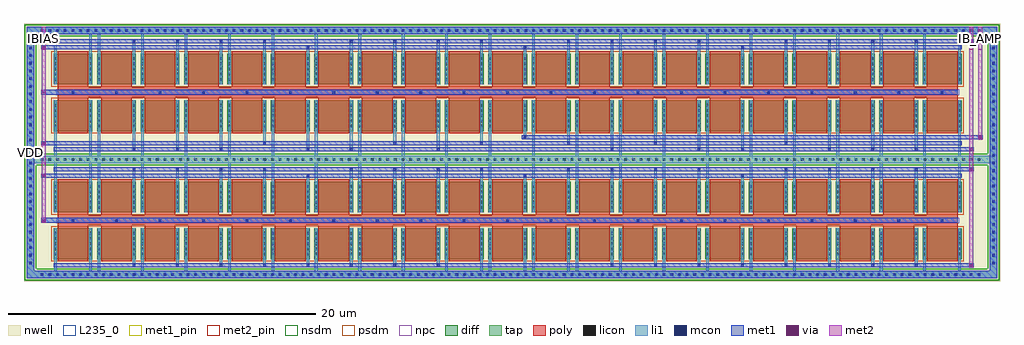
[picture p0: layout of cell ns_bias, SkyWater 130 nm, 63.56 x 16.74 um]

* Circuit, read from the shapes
.subckt ns_bias IBIAS IB_AMP IB_CMP VDD
XM1 VDD IBIAS VDD VDD sky130_fd_pr__pfet_01v8 w=2 l=2 m=11
XM2 IB_CMP IBIAS VDD VDD sky130_fd_pr__pfet_01v8 w=2 l=2 m=60
XM3 IBIAS IBIAS VDD VDD sky130_fd_pr__pfet_01v8 w=2 l=2 m=12
XM4 IB_AMP IBIAS VDD VDD sky130_fd_pr__pfet_01v8 w=2 l=2
.ends

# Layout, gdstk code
import gdstk
lib = gdstk.Library(unit=1e-6, precision=1e-09)
def R(c, l, rs):  # rectangles x0, y0, x1, y1
    for r in rs: c.add(gdstk.rectangle(r[:2], r[2:], *l))
def A(c, l, x, y, w, h, nx, ny, dx, dy):  # array of equal rectangles
    R(c, l, [(x+i*dx, y+j*dy, x+i*dx+w, y+j*dy+h) for i in range(nx) for j in range(ny)])
nwell = (64, 20)
diff = (65, 20)
tap = (65, 44)
poly = (66, 20)
licon = (66, 44)
li1 = (67, 20)
mcon = (67, 44)
met1_pin = (68, 16)
met1 = (68, 20)
via = (68, 44)
met2_pin = (69, 16)
met2 = (69, 20)
nsdm = (93, 44)
psdm = (94, 20)
npc = (95, 20)
L235_0 = (235, 0)

pfet_01v8_cdns_795853916 = lib.new_cell('pfet_01v8_CDNS_7958539161915')
R(pfet_01v8_cdns_795853916, nwell, [(-0.445,-0.18,2.445,2.18)])
R(pfet_01v8_cdns_795853916, diff, [(-0.265,0,0,2), (0,0,2,2), (2,0,2.265,2)])
R(pfet_01v8_cdns_795853916, poly, [(0,-0.15,2,-0.095), (0,-0.095,2,0), (0,0,2,2), (0,2,2,2.095), (0,2.095,2,2.15)])
A(pfet_01v8_cdns_795853916, licon, -0.225, 0.235, 0.17, 0.17, 1, 5, 0, 0.34)
A(pfet_01v8_cdns_795853916, licon, 2.055, 0.235, 0.17, 0.17, 1, 5, 0, 0.34)
R(pfet_01v8_cdns_795853916, li1, [(-0.225,0,-0.055,2), (2.055,0,2.225,2)])
R(pfet_01v8_cdns_795853916, psdm, [(-0.405,-0.13,2.405,2.13)])

ns_bias = lib.new_cell('ns_bias')
R(ns_bias, nwell, [(-0.18,-0.18,63.38,16.56)])
R(ns_bias, tap, [(0,0,63.2,0.5), (0,0,0.5,16.38), (62.7,0,63.2,16.38), (0,7.49,63.2,7.99), (0,15.88,63.2,16.38)])
A(ns_bias, poly, 2.015, 3.25, 2, 0.84, 21, 2, 2.83, 0.2)
A(ns_bias, poly, 2.015, 11.59, 2, 0.84, 21, 2, 2.83, 0.2)
R(ns_bias, poly, [(2.015,3.45,60.615,4.09), (2.015,11.79,60.615,12.43)])
A(ns_bias, licon, 0.915, 0.165, 0.17, 0.17, 123, 2, 0.5, 7.49)
A(ns_bias, licon, 0.165, 0.915, 0.17, 0.17, 1, 29, 0, 0.5)
A(ns_bias, licon, 62.865, 0.915, 0.17, 0.17, 1, 29, 0, 0.5)
A(ns_bias, licon, 2.93, 3.685, 0.17, 0.17, 21, 2, 2.83, 8.34)
A(ns_bias, licon, 0.915, 16.045, 0.17, 0.17, 123, 1, 0.5, 0)
A(ns_bias, li1, 4.62, 0.5, 0.17, 2.75, 9, 1, 2.83, 0)
A(ns_bias, li1, 35.75, 0.5, 0.17, 2.75, 9, 1, 2.83, 0)
A(ns_bias, li1, 6.9, 0.765, 0.17, 2.485, 8, 1, 2.83, 0)
A(ns_bias, li1, 38.03, 0.765, 0.17, 2.485, 8, 1, 2.83, 0)
A(ns_bias, li1, 4.62, 4.29, 0.17, 3.2, 20, 1, 2.83, 0)
A(ns_bias, li1, 6.9, 4.29, 0.17, 2.885, 4, 2, 2.83, 8.34)
A(ns_bias, li1, 18.22, 4.29, 0.17, 2.485, 3, 2, 14.15, 8.34)
A(ns_bias, li1, 21.05, 4.29, 0.17, 2.885, 4, 2, 2.83, 8.34)
A(ns_bias, li1, 35.2, 4.29, 0.17, 2.885, 4, 2, 2.83, 8.34)
A(ns_bias, li1, 49.35, 4.29, 0.17, 2.885, 4, 2, 2.83, 8.34)
A(ns_bias, li1, 4.62, 7.99, 0.17, 3.6, 20, 1, 2.83, 0)
A(ns_bias, li1, 6.9, 8.305, 0.17, 3.285, 3, 1, 2.83, 0)
A(ns_bias, li1, 52.18, 8.305, 0.17, 3.285, 3, 1, 2.83, 0)
A(ns_bias, li1, 23.88, 8.705, 0.17, 2.885, 4, 1, 5.66, 0)
A(ns_bias, li1, 4.62, 12.63, 0.17, 3.25, 20, 1, 2.83, 0)
R(ns_bias, li1, [(0,0,63.2,0.5), (0,0,0.5,16.38), (62.7,0,63.2,16.38), (1.79,0.5,1.96,3.25), (4.07,0.5,4.24,3.25), (29.54,0.5,29.71,3.25), (30.09,0.5,30.26,3.25), (32.37,0.5,32.54,3.25), (32.92,0.5,33.09,3.25), (35.2,0.5,35.37,3.25), (60.67,0.5,60.84,3.25), (0.97,3.605,60.615,3.935), (1.79,4.29,1.96,7.49), (4.07,4.29,4.24,7.49), (60.67,4.29,60.84,7.49), (0,7.49,63.2,7.99), (1.79,7.99,1.96,11.59), (4.07,7.99,4.24,11.59), (60.67,7.99,60.84,11.59), (18.22,8.305,18.39,11.59), (21.05,8.305,21.22,11.59), (26.71,8.305,26.88,11.59), (38.03,8.305,38.2,11.59), (43.69,8.305,43.86,11.59), (46.52,8.305,46.69,11.59), (15.39,8.705,15.56,11.59), (49.35,8.705,49.52,11.59), (32.37,9.105,32.54,11.59), (0.97,11.945,60.615,12.275), (1.79,12.63,1.96,15.88), (4.07,12.63,4.24,15.88), (60.67,12.63,60.84,15.88), (0,15.88,63.2,16.38)])
A(ns_bias, mcon, 0.915, 0.165, 0.17, 0.17, 123, 2, 0.5, 15.88)
A(ns_bias, mcon, 6.9, 0.765, 0.17, 0.17, 8, 1, 2.83, 0)
A(ns_bias, mcon, 38.03, 0.765, 0.17, 0.17, 8, 1, 2.83, 0)
A(ns_bias, mcon, 0.165, 0.915, 0.17, 0.17, 1, 29, 0, 0.5)
A(ns_bias, mcon, 62.865, 0.915, 0.17, 0.17, 1, 29, 0, 0.5)
A(ns_bias, mcon, 2.93, 3.685, 0.17, 0.17, 21, 2, 2.83, 8.34)
A(ns_bias, mcon, 18.22, 6.605, 0.17, 0.17, 3, 2, 14.15, 8.34)
A(ns_bias, mcon, 6.9, 7.005, 0.17, 0.17, 4, 2, 2.83, 8.34)
A(ns_bias, mcon, 21.05, 7.005, 0.17, 0.17, 4, 2, 2.83, 8.34)
A(ns_bias, mcon, 35.2, 7.005, 0.17, 0.17, 4, 2, 2.83, 8.34)
A(ns_bias, mcon, 49.35, 7.005, 0.17, 0.17, 4, 2, 2.83, 8.34)
A(ns_bias, mcon, 6.9, 8.305, 0.17, 0.17, 3, 1, 2.83, 0)
A(ns_bias, mcon, 52.18, 8.305, 0.17, 0.17, 3, 1, 2.83, 0)
A(ns_bias, mcon, 23.88, 8.705, 0.17, 0.17, 4, 1, 5.66, 0)
R(ns_bias, mcon, [(18.22,8.305,18.39,8.475), (21.05,8.305,21.22,8.475), (26.71,8.305,26.88,8.475), (38.03,8.305,38.2,8.475), (43.69,8.305,43.86,8.475), (46.52,8.305,46.69,8.475), (15.39,8.705,15.56,8.875), (49.35,8.705,49.52,8.875), (32.37,9.105,32.54,9.275)])
R(ns_bias, met1_pin, [(0,1,0.5,15.38)])
R(ns_bias, met1, [(0,0,0.5,16.38), (0,0,63.2,0.5), (62.7,0,63.2,16.38), (1.75,0.72,61.66,0.98), (61.34,0.72,61.66,0.98), (0.94,3.605,60.615,3.935), (0.94,3.64,1.26,3.9), (0.94,6.56,1.26,6.82), (0.94,6.56,60.88,6.82), (1.75,6.96,61.66,7.22), (61.34,6.96,61.66,7.22), (1.75,8.26,61.66,8.52), (61.34,8.26,61.66,8.52), (0.94,8.66,1.26,8.92), (0.94,8.66,60.88,8.92), (32.25,9.06,62.26,9.32), (61.94,9.06,62.26,9.32), (0.94,11.945,60.615,12.275), (0.94,11.98,1.26,12.24), (0.94,14.9,1.26,15.16), (0.94,14.9,60.88,15.16), (1.75,15.3,61.66,15.56), (61.34,15.3,61.66,15.56), (0,15.88,63.2,16.38)])
R(ns_bias, via, [(61.425,0.775,61.575,0.925), (1.025,3.695,1.175,3.845), (1.025,6.615,1.175,6.765), (61.425,7.015,61.575,7.165), (61.425,8.315,61.575,8.465), (1.025,8.715,1.175,8.865), (62.025,9.115,62.175,9.265), (1.025,12.035,1.175,12.185), (1.025,14.955,1.175,15.105), (61.425,15.355,61.575,15.505)])
R(ns_bias, met2_pin, [(0.97,14.88,1.23,16.38), (61.37,14.88,61.63,16.38), (61.97,14.88,62.23,16.38)])
R(ns_bias, met2, [(61.37,0.69,61.63,16.38), (61.37,0.69,61.63,1.01), (0.97,3.61,1.23,16.38), (0.97,3.61,1.23,3.93), (0.97,6.53,1.23,6.85), (61.37,6.93,61.63,7.25), (61.37,8.23,61.63,8.55), (0.97,8.63,1.23,8.95), (61.97,9.03,62.23,16.38), (61.97,9.03,62.23,9.35), (0.97,11.95,1.23,12.27), (0.97,14.87,1.23,15.19), (61.37,15.27,61.63,15.59)])
R(ns_bias, nsdm, [(-0.125,-0.125,0.625,16.505), (-0.125,-0.125,63.325,0.625), (62.575,-0.125,63.325,16.505), (0.625,7.365,62.575,8.115), (-0.125,15.755,63.325,16.505)])
R(ns_bias, psdm, [(1.6,1.1,61.03,3.4), (1.6,4.14,61.03,6.44), (1.6,9.44,61.03,11.74), (1.6,12.48,61.03,14.78)])
R(ns_bias, npc, [(1.915,3.585,60.715,3.955), (1.915,11.925,60.715,12.295)])
R(ns_bias, L235_0, [(0,0,63.2,16.38)])
ns_bias.add(gdstk.Reference(pfet_01v8_cdns_795853916, (58.615,1.25)))
ns_bias.add(gdstk.Reference(pfet_01v8_cdns_795853916, (55.785,1.25)))
ns_bias.add(gdstk.Reference(pfet_01v8_cdns_795853916, (52.955,1.25)))
ns_bias.add(gdstk.Reference(pfet_01v8_cdns_795853916, (50.125,1.25)))
ns_bias.add(gdstk.Reference(pfet_01v8_cdns_795853916, (47.295,1.25)))
ns_bias.add(gdstk.Reference(pfet_01v8_cdns_795853916, (44.465,1.25)))
ns_bias.add(gdstk.Reference(pfet_01v8_cdns_795853916, (41.635,1.25)))
ns_bias.add(gdstk.Reference(pfet_01v8_cdns_795853916, (38.805,1.25)))
ns_bias.add(gdstk.Reference(pfet_01v8_cdns_795853916, (35.975,1.25)))
ns_bias.add(gdstk.Reference(pfet_01v8_cdns_795853916, (33.145,1.25)))
ns_bias.add(gdstk.Reference(pfet_01v8_cdns_795853916, (30.315,1.25)))
ns_bias.add(gdstk.Reference(pfet_01v8_cdns_795853916, (27.485,1.25)))
ns_bias.add(gdstk.Reference(pfet_01v8_cdns_795853916, (24.655,1.25)))
ns_bias.add(gdstk.Reference(pfet_01v8_cdns_795853916, (21.825,1.25)))
ns_bias.add(gdstk.Reference(pfet_01v8_cdns_795853916, (18.995,1.25)))
ns_bias.add(gdstk.Reference(pfet_01v8_cdns_795853916, (16.165,1.25)))
ns_bias.add(gdstk.Reference(pfet_01v8_cdns_795853916, (13.335,1.25)))
ns_bias.add(gdstk.Reference(pfet_01v8_cdns_795853916, (10.505,1.25)))
ns_bias.add(gdstk.Reference(pfet_01v8_cdns_795853916, (7.675,1.25)))
ns_bias.add(gdstk.Reference(pfet_01v8_cdns_795853916, (4.845,1.25)))
ns_bias.add(gdstk.Reference(pfet_01v8_cdns_795853916, (2.015,1.25)))
ns_bias.add(gdstk.Reference(pfet_01v8_cdns_795853916, (58.615,4.29)))
ns_bias.add(gdstk.Reference(pfet_01v8_cdns_795853916, (55.785,4.29)))
ns_bias.add(gdstk.Reference(pfet_01v8_cdns_795853916, (52.955,4.29)))
ns_bias.add(gdstk.Reference(pfet_01v8_cdns_795853916, (50.125,4.29)))
ns_bias.add(gdstk.Reference(pfet_01v8_cdns_795853916, (47.295,4.29)))
ns_bias.add(gdstk.Reference(pfet_01v8_cdns_795853916, (44.465,4.29)))
ns_bias.add(gdstk.Reference(pfet_01v8_cdns_795853916, (41.635,4.29)))
ns_bias.add(gdstk.Reference(pfet_01v8_cdns_795853916, (38.805,4.29)))
ns_bias.add(gdstk.Reference(pfet_01v8_cdns_795853916, (35.975,4.29)))
ns_bias.add(gdstk.Reference(pfet_01v8_cdns_795853916, (33.145,4.29)))
ns_bias.add(gdstk.Reference(pfet_01v8_cdns_795853916, (30.315,4.29)))
ns_bias.add(gdstk.Reference(pfet_01v8_cdns_795853916, (27.485,4.29)))
ns_bias.add(gdstk.Reference(pfet_01v8_cdns_795853916, (24.655,4.29)))
ns_bias.add(gdstk.Reference(pfet_01v8_cdns_795853916, (21.825,4.29)))
ns_bias.add(gdstk.Reference(pfet_01v8_cdns_795853916, (18.995,4.29)))
ns_bias.add(gdstk.Reference(pfet_01v8_cdns_795853916, (16.165,4.29)))
ns_bias.add(gdstk.Reference(pfet_01v8_cdns_795853916, (13.335,4.29)))
ns_bias.add(gdstk.Reference(pfet_01v8_cdns_795853916, (10.505,4.29)))
ns_bias.add(gdstk.Reference(pfet_01v8_cdns_795853916, (7.675,4.29)))
ns_bias.add(gdstk.Reference(pfet_01v8_cdns_795853916, (4.845,4.29)))
ns_bias.add(gdstk.Reference(pfet_01v8_cdns_795853916, (2.015,4.29)))
ns_bias.add(gdstk.Reference(pfet_01v8_cdns_795853916, (58.615,9.59)))
ns_bias.add(gdstk.Reference(pfet_01v8_cdns_795853916, (55.785,9.59)))
ns_bias.add(gdstk.Reference(pfet_01v8_cdns_795853916, (52.955,9.59)))
ns_bias.add(gdstk.Reference(pfet_01v8_cdns_795853916, (50.125,9.59)))
ns_bias.add(gdstk.Reference(pfet_01v8_cdns_795853916, (47.295,9.59)))
ns_bias.add(gdstk.Reference(pfet_01v8_cdns_795853916, (44.465,9.59)))
ns_bias.add(gdstk.Reference(pfet_01v8_cdns_795853916, (41.635,9.59)))
ns_bias.add(gdstk.Reference(pfet_01v8_cdns_795853916, (38.805,9.59)))
ns_bias.add(gdstk.Reference(pfet_01v8_cdns_795853916, (35.975,9.59)))
ns_bias.add(gdstk.Reference(pfet_01v8_cdns_795853916, (33.145,9.59)))
ns_bias.add(gdstk.Reference(pfet_01v8_cdns_795853916, (30.315,9.59)))
ns_bias.add(gdstk.Reference(pfet_01v8_cdns_795853916, (27.485,9.59)))
ns_bias.add(gdstk.Reference(pfet_01v8_cdns_795853916, (24.655,9.59)))
ns_bias.add(gdstk.Reference(pfet_01v8_cdns_795853916, (21.825,9.59)))
ns_bias.add(gdstk.Reference(pfet_01v8_cdns_795853916, (18.995,9.59)))
ns_bias.add(gdstk.Reference(pfet_01v8_cdns_795853916, (16.165,9.59)))
ns_bias.add(gdstk.Reference(pfet_01v8_cdns_795853916, (13.335,9.59)))
ns_bias.add(gdstk.Reference(pfet_01v8_cdns_795853916, (10.505,9.59)))
ns_bias.add(gdstk.Reference(pfet_01v8_cdns_795853916, (7.675,9.59)))
ns_bias.add(gdstk.Reference(pfet_01v8_cdns_795853916, (4.845,9.59)))
ns_bias.add(gdstk.Reference(pfet_01v8_cdns_795853916, (2.015,9.59)))
ns_bias.add(gdstk.Reference(pfet_01v8_cdns_795853916, (58.615,12.63)))
ns_bias.add(gdstk.Reference(pfet_01v8_cdns_795853916, (55.785,12.63)))
ns_bias.add(gdstk.Reference(pfet_01v8_cdns_795853916, (52.955,12.63)))
ns_bias.add(gdstk.Reference(pfet_01v8_cdns_795853916, (50.125,12.63)))
ns_bias.add(gdstk.Reference(pfet_01v8_cdns_795853916, (47.295,12.63)))
ns_bias.add(gdstk.Reference(pfet_01v8_cdns_795853916, (44.465,12.63)))
ns_bias.add(gdstk.Reference(pfet_01v8_cdns_795853916, (41.635,12.63)))
ns_bias.add(gdstk.Reference(pfet_01v8_cdns_795853916, (38.805,12.63)))
ns_bias.add(gdstk.Reference(pfet_01v8_cdns_795853916, (35.975,12.63)))
ns_bias.add(gdstk.Reference(pfet_01v8_cdns_795853916, (33.145,12.63)))
ns_bias.add(gdstk.Reference(pfet_01v8_cdns_795853916, (30.315,12.63)))
ns_bias.add(gdstk.Reference(pfet_01v8_cdns_795853916, (27.485,12.63)))
ns_bias.add(gdstk.Reference(pfet_01v8_cdns_795853916, (24.655,12.63)))
ns_bias.add(gdstk.Reference(pfet_01v8_cdns_795853916, (21.825,12.63)))
ns_bias.add(gdstk.Reference(pfet_01v8_cdns_795853916, (18.995,12.63)))
ns_bias.add(gdstk.Reference(pfet_01v8_cdns_795853916, (16.165,12.63)))
ns_bias.add(gdstk.Reference(pfet_01v8_cdns_795853916, (13.335,12.63)))
ns_bias.add(gdstk.Reference(pfet_01v8_cdns_795853916, (10.505,12.63)))
ns_bias.add(gdstk.Reference(pfet_01v8_cdns_795853916, (7.675,12.63)))
ns_bias.add(gdstk.Reference(pfet_01v8_cdns_795853916, (4.845,12.63)))
ns_bias.add(gdstk.Reference(pfet_01v8_cdns_795853916, (2.015,12.63)))
ns_bias.add(gdstk.Label('VDD', (0.25,8.19), layer=68, texttype=5))
ns_bias.add(gdstk.Label('IB_AMP', (62.1,15.63), layer=69, texttype=5))
ns_bias.add(gdstk.Label('IB_CMP', (61.5,15.63), layer=69, texttype=5))
ns_bias.add(gdstk.Label('IBIAS', (1.1,15.63), layer=69, texttype=5))

lib.write_gds('ns_bias.gds')
